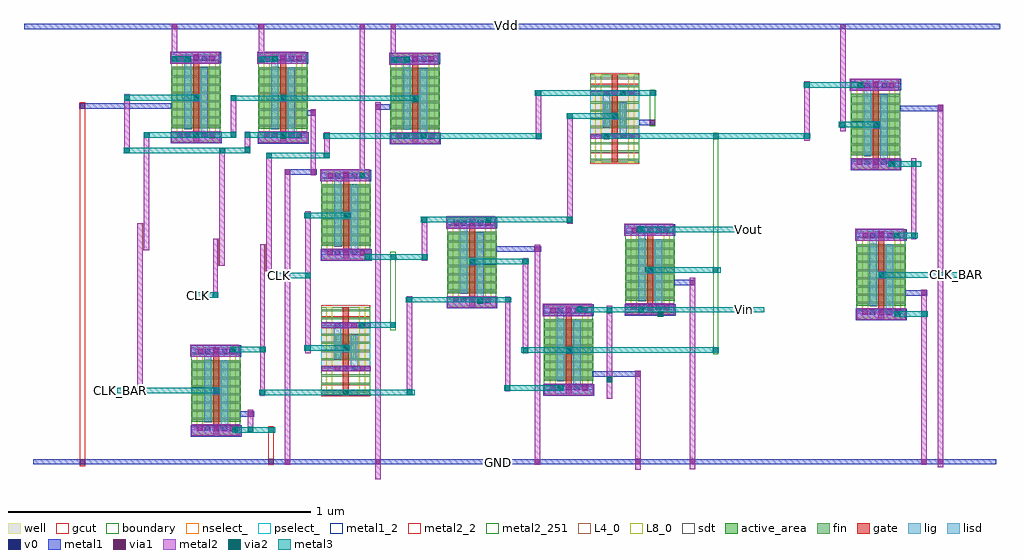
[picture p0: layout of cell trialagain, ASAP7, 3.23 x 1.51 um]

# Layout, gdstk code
import gdstk
lib = gdstk.Library(unit=1e-6, precision=2.5e-10)
def R(c, l, rs):  # rectangles x0, y0, x1, y1
    for r in rs: c.add(gdstk.rectangle(r[:2], r[2:], *l))
def A(c, l, x, y, w, h, nx, ny, dx, dy):  # array of equal rectangles
    R(c, l, [(x+i*dx, y+j*dy, x+i*dx+w, y+j*dy+h) for i in range(nx) for j in range(ny)])
well = (1, 0)
fin = (2, 0)
L4_0 = (4, 0)
gate = (7, 0)
L8_0 = (8, 0)
gcut = (10, 0)
active_area = (11, 0)
nselect_ = (12, 0)
pselect_ = (13, 0)
lig = (16, 0)
lisd = (17, 0)
v0 = (18, 0)
metal1 = (19, 0)
metal1_2 = (19, 2)
metal2 = (20, 0)
metal2_2 = (20, 2)
metal2_251 = (20, 251)
via1 = (21, 0)
via2 = (25, 0)
metal3 = (30, 0)
sdt = (88, 0)
boundary = (100, 0)

trialagain = lib.new_cell('trialagain')
R(trialagain, well, [(-0.807,4.412,-0.645,4.556), (0.082,5.1795,0.244,5.3235)])
A(trialagain, fin, -0.807, 4.332, 0.162, 0.007, 1, 11, 0, 0.027)
A(trialagain, fin, 0.082, 5.0995, 0.162, 0.007, 1, 11, 0, 0.027)
R(trialagain, fin, [(-1.2365,4.216,-1.0745,4.223), (-1.2365,4.216,-1.0745,4.223), (-1.2365,4.243,-1.0745,4.25), (-1.2365,4.243,-1.0745,4.25), (-1.2365,4.27,-1.0745,4.277), (-1.2365,4.27,-1.0745,4.277), (-1.2365,4.297,-1.0745,4.304), (-1.2365,4.297,-1.0745,4.304), (-1.2365,4.324,-1.0745,4.331), (-1.2365,4.324,-1.0745,4.331), (-1.2365,4.351,-1.0745,4.358), (-1.2365,4.351,-1.0745,4.358), (-0.071,4.351,0.091,4.358), (-0.071,4.351,0.091,4.358), (-1.2365,4.378,-1.0745,4.385), (-1.2365,4.378,-1.0745,4.385), (-0.071,4.378,0.091,4.385), (-0.071,4.378,0.091,4.385), (-1.2365,4.405,-1.0745,4.412), (-1.2365,4.405,-1.0745,4.412), (-0.071,4.405,0.091,4.412), (-0.071,4.405,0.091,4.412), (-1.2365,4.432,-1.0745,4.439), (-1.2365,4.432,-1.0745,4.439), (-0.071,4.432,0.091,4.439), (-0.071,4.432,0.091,4.439), (-1.2365,4.459,-1.0745,4.466), (-1.2365,4.459,-1.0745,4.466), (-0.071,4.459,0.091,4.466), (-0.071,4.459,0.091,4.466), (-0.071,4.486,0.091,4.493), (-0.071,4.486,0.091,4.493), (-0.071,4.513,0.091,4.52), (-0.071,4.513,0.091,4.52), (-0.071,4.54,0.091,4.547), (-0.071,4.54,0.091,4.547), (-0.071,4.567,0.091,4.574), (-0.071,4.567,0.091,4.574), (-0.071,4.594,0.091,4.601), (-0.071,4.594,0.091,4.601), (0.962,4.5995,1.124,4.6065), (0.962,4.5995,1.124,4.6065), (0.198,4.6158,0.36,4.6228), (0.198,4.6158,0.36,4.6228), (0.962,4.6265,1.124,4.6335), (0.962,4.6265,1.124,4.6335), (-0.391,4.6403,-0.229,4.6473), (-0.391,4.6403,-0.229,4.6473), (0.198,4.6428,0.36,4.6498), (0.198,4.6428,0.36,4.6498), (0.962,4.6535,1.124,4.6605), (0.962,4.6535,1.124,4.6605), (-0.391,4.6673,-0.229,4.6743), (-0.391,4.6673,-0.229,4.6743), (0.198,4.6698,0.36,4.6768), (0.198,4.6698,0.36,4.6768), (0.962,4.6805,1.124,4.6875), (0.962,4.6805,1.124,4.6875), (-0.391,4.6943,-0.229,4.7013), (-0.391,4.6943,-0.229,4.7013), (0.198,4.6968,0.36,4.7038), (0.198,4.6968,0.36,4.7038), (0.962,4.7075,1.124,4.7145), (0.962,4.7075,1.124,4.7145), (-0.391,4.7213,-0.229,4.7283), (-0.391,4.7213,-0.229,4.7283), (0.198,4.7238,0.36,4.7308), (0.198,4.7238,0.36,4.7308), (0.962,4.7345,1.124,4.7415), (0.962,4.7345,1.124,4.7415), (-0.391,4.7483,-0.229,4.7553), (-0.391,4.7483,-0.229,4.7553), (0.198,4.7508,0.36,4.7578), (0.198,4.7508,0.36,4.7578), (0.962,4.7615,1.124,4.7685), (0.962,4.7615,1.124,4.7685), (-0.391,4.7753,-0.229,4.7823), (-0.391,4.7753,-0.229,4.7823), (0.198,4.7778,0.36,4.7848), (0.198,4.7778,0.36,4.7848), (0.962,4.7885,1.124,4.7955), (0.962,4.7885,1.124,4.7955), (-0.807,4.7965,-0.645,4.8035), (-0.807,4.7965,-0.645,4.8035), (-0.391,4.8023,-0.229,4.8093), (-0.391,4.8023,-0.229,4.8093), (0.198,4.8048,0.36,4.8118), (0.198,4.8048,0.36,4.8118), (0.962,4.8155,1.124,4.8225), (0.962,4.8155,1.124,4.8225), (-0.807,4.8235,-0.645,4.8305), (-0.807,4.8235,-0.645,4.8305), (-0.391,4.8293,-0.229,4.8363), (-0.391,4.8293,-0.229,4.8363), (0.198,4.8318,0.36,4.8388), (0.198,4.8318,0.36,4.8388), (0.962,4.8425,1.124,4.8495), (0.962,4.8425,1.124,4.8495), (-0.807,4.8505,-0.645,4.8575), (-0.807,4.8505,-0.645,4.8575), (-0.391,4.8563,-0.229,4.8633), (-0.391,4.8563,-0.229,4.8633), (0.198,4.8588,0.36,4.8658), (0.198,4.8588,0.36,4.8658), (-0.807,4.8775,-0.645,4.8845), (-0.807,4.8775,-0.645,4.8845), (-0.391,4.8833,-0.229,4.8903), (-0.391,4.8833,-0.229,4.8903), (-0.807,4.9045,-0.645,4.9115), (-0.807,4.9045,-0.645,4.9115), (-0.807,4.9315,-0.645,4.9385), (-0.807,4.9315,-0.645,4.9385), (-0.807,4.9585,-0.645,4.9655), (-0.807,4.9585,-0.645,4.9655), (-0.807,4.9855,-0.645,4.9925), (-0.807,4.9855,-0.645,4.9925), (-0.807,5.0125,-0.645,5.0195), (-0.807,5.0125,-0.645,5.0195), (-0.807,5.0395,-0.645,5.0465), (-0.807,5.0395,-0.645,5.0465), (0.944,5.0958,1.106,5.1028), (0.944,5.0958,1.106,5.1028), (0.944,5.1228,1.106,5.1298), (0.944,5.1228,1.106,5.1298), (0.944,5.1498,1.106,5.1568), (0.944,5.1498,1.106,5.1568), (0.944,5.1768,1.106,5.1838), (0.944,5.1768,1.106,5.1838), (-0.5785,5.1823,-0.4165,5.1893), (-0.5785,5.1823,-0.4165,5.1893), (-1.0155,5.1843,-0.8535,5.1913), (-1.0155,5.1843,-0.8535,5.1913), (-1.303,5.1853,-1.141,5.1923), (-1.303,5.1853,-1.141,5.1923), (0.944,5.2038,1.106,5.2108), (0.944,5.2038,1.106,5.2108), (-0.5785,5.2093,-0.4165,5.2163), (-0.5785,5.2093,-0.4165,5.2163), (-1.0155,5.2113,-0.8535,5.2183), (-1.0155,5.2113,-0.8535,5.2183), (-1.303,5.2123,-1.141,5.2193), (-1.303,5.2123,-1.141,5.2193), (0.944,5.2308,1.106,5.2378), (0.944,5.2308,1.106,5.2378), (-0.5785,5.2363,-0.4165,5.2433), (-0.5785,5.2363,-0.4165,5.2433), (-1.0155,5.2383,-0.8535,5.2453), (-1.0155,5.2383,-0.8535,5.2453), (-1.303,5.2393,-1.141,5.2463), (-1.303,5.2393,-1.141,5.2463), (0.944,5.2578,1.106,5.2648), (0.944,5.2578,1.106,5.2648), (-0.5785,5.2633,-0.4165,5.2703), (-0.5785,5.2633,-0.4165,5.2703), (-1.0155,5.2653,-0.8535,5.2723), (-1.0155,5.2653,-0.8535,5.2723), (-1.303,5.2663,-1.141,5.2733), (-1.303,5.2663,-1.141,5.2733), (0.944,5.2848,1.106,5.2918), (0.944,5.2848,1.106,5.2918), (-0.5785,5.2903,-0.4165,5.2973), (-0.5785,5.2903,-0.4165,5.2973), (-1.0155,5.2923,-0.8535,5.2993), (-1.0155,5.2923,-0.8535,5.2993), (-1.303,5.2933,-1.141,5.3003), (-1.303,5.2933,-1.141,5.3003), (0.944,5.3118,1.106,5.3188), (0.944,5.3118,1.106,5.3188), (-0.5785,5.3173,-0.4165,5.3243), (-0.5785,5.3173,-0.4165,5.3243), (-1.0155,5.3193,-0.8535,5.3263), (-1.0155,5.3193,-0.8535,5.3263), (-1.303,5.3203,-1.141,5.3273), (-1.303,5.3203,-1.141,5.3273), (0.944,5.3388,1.106,5.3458), (0.944,5.3388,1.106,5.3458), (-0.5785,5.3443,-0.4165,5.3513), (-0.5785,5.3443,-0.4165,5.3513), (-1.0155,5.3463,-0.8535,5.3533), (-1.0155,5.3463,-0.8535,5.3533), (-1.303,5.3473,-1.141,5.3543), (-1.303,5.3473,-1.141,5.3543), (-0.5785,5.3713,-0.4165,5.3783), (-0.5785,5.3713,-0.4165,5.3783), (-1.0155,5.3733,-0.8535,5.3803), (-1.0155,5.3733,-0.8535,5.3803), (-1.303,5.3743,-1.141,5.3813), (-1.303,5.3743,-1.141,5.3813), (-0.5785,5.3983,-0.4165,5.4053), (-0.5785,5.3983,-0.4165,5.4053), (-1.0155,5.4003,-0.8535,5.4073), (-1.0155,5.4003,-0.8535,5.4073), (-1.303,5.4013,-1.141,5.4083), (-1.303,5.4013,-1.141,5.4083), (-0.5785,5.4253,-0.4165,5.4323), (-0.5785,5.4253,-0.4165,5.4323), (-1.0155,5.4273,-0.8535,5.4343), (-1.0155,5.4273,-0.8535,5.4343), (-1.303,5.4283,-1.141,5.4353), (-1.303,5.4283,-1.141,5.4353)])
R(trialagain, L4_0, [(-0.9945,4.734,-0.9895,4.824), (-0.9945,4.734,-0.9895,4.824), (-1.1495,4.752,-1.1445,4.842), (-1.1495,4.752,-1.1445,4.842), (-1.399,4.803,-1.394,4.893)])
R(trialagain, gate, [(-1.1645,4.195,-1.1445,4.483), (-0.7365,4.3275,-0.7165,4.6155), (0.001,4.33,0.021,4.618), (1.034,4.5785,1.054,4.8665), (0.27,4.5948,0.29,4.8828), (-0.319,4.6193,-0.299,4.9073), (-0.735,4.7755,-0.715,5.0635), (1.016,5.0748,1.036,5.3628), (0.1525,5.095,0.1725,5.383), (-0.5065,5.1613,-0.4865,5.4493), (-0.9435,5.1633,-0.9235,5.4513), (-1.231,5.1643,-1.211,5.4523)])
R(trialagain, L8_0, [(-1.2185,4.195,-1.1985,4.483), (-1.1105,4.195,-1.0905,4.483), (-0.7905,4.3275,-0.7705,4.6155), (-0.6825,4.3275,-0.6625,4.6155), (-0.053,4.33,-0.033,4.618), (0.055,4.33,0.075,4.618), (0.98,4.5785,1,4.8665), (1.088,4.5785,1.108,4.8665), (0.216,4.5948,0.236,4.8828), (0.324,4.5948,0.344,4.8828), (-0.373,4.6193,-0.353,4.9073), (-0.265,4.6193,-0.245,4.9073), (-0.789,4.7755,-0.769,5.0635), (-0.681,4.7755,-0.661,5.0635), (0.962,5.0748,0.982,5.3628), (1.07,5.0748,1.09,5.3628), (0.0985,5.095,0.1185,5.383), (0.2065,5.095,0.2265,5.383), (-0.5605,5.1613,-0.5405,5.4493), (-0.4525,5.1613,-0.4325,5.4493), (-0.9975,5.1633,-0.9775,5.4513), (-0.8895,5.1633,-0.8695,5.4513), (-1.285,5.1643,-1.265,5.4523), (-1.177,5.1643,-1.157,5.4523)])
R(trialagain, gcut, [(-1.2365,4.189,-1.0745,4.226), (-0.8075,4.3215,-0.6455,4.3585), (-0.071,4.324,0.091,4.361), (-1.2365,4.452,-1.0745,4.489), (0.962,4.5725,1.124,4.6095), (-0.8075,4.5845,-0.6455,4.6215), (-0.071,4.587,0.091,4.624), (0.198,4.5888,0.36,4.6258), (-0.391,4.6133,-0.229,4.6503), (-0.807,4.7695,-0.645,4.8065), (0.962,4.8355,1.124,4.8725), (0.198,4.8518,0.36,4.8888), (-0.391,4.8763,-0.229,4.9133), (-0.807,5.0325,-0.645,5.0695), (0.944,5.0688,1.106,5.1058), (0.0815,5.089,0.2435,5.126), (-0.5785,5.1553,-0.4165,5.1923), (-1.0155,5.1573,-0.8535,5.1943), (-1.303,5.1583,-1.141,5.1953), (0.944,5.3318,1.106,5.3688), (0.0815,5.352,0.2435,5.389), (-0.5785,5.4183,-0.4165,5.4553), (-1.0155,5.4203,-0.8535,5.4573), (-1.303,5.4213,-1.141,5.4583)])
R(trialagain, active_area, [(-1.2355,4.2373,-1.0735,4.4408), (-0.07,4.3723,0.092,4.5758), (-0.761,4.4435,-0.691,4.5245), (0.963,4.6208,1.125,4.8243), (0.199,4.637,0.361,4.8405), (-0.39,4.6615,-0.228,4.865), (-0.806,4.8178,-0.644,5.0213), (0.945,5.117,1.107,5.3205), (-0.5775,5.2035,-0.4155,5.407), (-1.0145,5.2055,-0.8525,5.409), (-1.302,5.2065,-1.14,5.41), (0.128,5.211,0.198,5.292)])
R(trialagain, nselect_, [(-1.2355,4.2715,-1.0735,4.4065), (-0.07,4.4065,0.092,4.5415), (0.963,4.655,1.125,4.79), (0.199,4.6713,0.361,4.8063), (-0.39,4.6958,-0.228,4.8308), (-0.806,4.852,-0.644,4.987), (0.945,5.1513,1.107,5.2863), (-0.5775,5.2378,-0.4155,5.3728), (-1.0145,5.2398,-0.8525,5.3748), (-1.302,5.2408,-1.14,5.3758)])
R(trialagain, pselect_, [(-0.807,4.415,-0.645,4.55), (0.082,5.1825,0.244,5.3175)])
R(trialagain, lig, [(-1.2375,4.208,-1.0755,4.224), (-1.1645,4.326,-1.1425,4.35), (-0.072,4.343,0.09,4.359), (-0.807,4.405,-0.645,4.421), (0.001,4.461,0.023,4.485), (-1.2365,4.462,-1.0745,4.478), (-0.738,4.467,-0.716,4.491), (-0.807,4.547,-0.645,4.563), (0.961,4.5915,1.123,4.6075), (-0.071,4.597,0.091,4.613), (0.197,4.6078,0.359,4.6238), (-0.392,4.6323,-0.23,4.6483), (1.034,4.7095,1.056,4.7335), (0.27,4.7258,0.292,4.7498), (-0.319,4.7543,-0.297,4.7783), (-0.808,4.7885,-0.646,4.8045), (0.962,4.8455,1.124,4.8615), (0.198,4.8618,0.36,4.8778), (-0.391,4.8863,-0.229,4.9023), (-0.735,4.9065,-0.713,4.9305), (-0.807,5.0425,-0.645,5.0585), (0.943,5.0878,1.105,5.1038), (0.082,5.1725,0.244,5.1885), (-0.5795,5.1743,-0.4175,5.1903), (-1.0165,5.1763,-0.8545,5.1923), (-1.304,5.1773,-1.142,5.1933), (1.016,5.2058,1.038,5.2298), (0.151,5.2345,0.173,5.2585), (-0.5065,5.2923,-0.4845,5.3163), (-0.9435,5.2943,-0.9215,5.3183), (-1.231,5.2953,-1.209,5.3193), (0.082,5.3145,0.244,5.3305), (0.944,5.3418,1.106,5.3578), (-0.5785,5.4283,-0.4165,5.4443), (-1.0155,5.4303,-0.8535,5.4463), (-1.303,5.4313,-1.141,5.4473)])
R(trialagain, lisd, [(-1.1395,4.209,-1.1155,4.4395), (-1.1945,4.2365,-1.1705,4.47), (0.026,4.344,0.05,4.5745), (-0.029,4.3715,-0.005,4.605), (-0.71,4.417,-0.686,4.525), (-0.766,4.443,-0.742,4.551), (1.059,4.5925,1.083,4.823), (0.295,4.6088,0.319,4.8393), (1.004,4.62,1.028,4.8535), (-0.294,4.6333,-0.27,4.8638), (0.24,4.6363,0.264,4.8698), (-0.349,4.6608,-0.325,4.8943), (-0.71,4.7895,-0.686,5.02), (-0.765,4.817,-0.741,5.0505), (1.041,5.0888,1.065,5.3193), (0.986,5.1163,1.01,5.3498), (-0.4815,5.1753,-0.4575,5.4058), (-0.9185,5.1773,-0.8945,5.4078), (-1.206,5.1783,-1.182,5.4088), (0.179,5.1845,0.203,5.2925), (-0.5365,5.2028,-0.5125,5.4363), (-0.9735,5.2048,-0.9495,5.4383), (-1.261,5.2058,-1.237,5.4393), (0.123,5.2105,0.147,5.3185)])
R(trialagain, v0, [(-1.1365,4.206,-1.1185,4.224), (-1.1925,4.207,-1.1745,4.225), (-1.1625,4.329,-1.1445,4.347), (-0.027,4.339,-0.009,4.357), (0.029,4.341,0.047,4.359), (-0.707,4.404,-0.689,4.422), (-1.1925,4.46,-1.1745,4.478), (-1.1355,4.46,-1.1175,4.478), (0.003,4.464,0.021,4.482), (-0.735,4.471,-0.717,4.489), (-0.763,4.547,-0.745,4.565), (1.062,4.5895,1.08,4.6075), (1.006,4.5905,1.024,4.6085), (-0.027,4.595,-0.009,4.613), (0.03,4.595,0.048,4.613), (0.298,4.6058,0.316,4.6238), (0.242,4.6068,0.26,4.6248), (-0.291,4.6303,-0.273,4.6483), (-0.347,4.6313,-0.329,4.6493), (1.036,4.7125,1.054,4.7305), (0.272,4.7288,0.29,4.7468), (-0.317,4.7533,-0.299,4.7713), (-0.707,4.7865,-0.689,4.8045), (-0.763,4.7875,-0.745,4.8055), (1.006,4.8435,1.024,4.8615), (1.063,4.8435,1.081,4.8615), (0.242,4.8598,0.26,4.8778), (0.299,4.8598,0.317,4.8778), (-0.347,4.8843,-0.329,4.9023), (-0.29,4.8843,-0.272,4.9023), (-0.733,4.9095,-0.715,4.9275), (-0.763,5.0405,-0.745,5.0585), (-0.706,5.0405,-0.688,5.0585), (1.044,5.0858,1.062,5.1038), (0.988,5.0868,1.006,5.1048), (0.182,5.1715,0.2,5.1895), (-0.4785,5.1723,-0.4605,5.1903), (-0.5345,5.1733,-0.5165,5.1913), (-0.9155,5.1743,-0.8975,5.1923), (-1.203,5.1753,-1.185,5.1933), (-0.9715,5.1753,-0.9535,5.1933), (-1.259,5.1763,-1.241,5.1943), (1.018,5.2088,1.036,5.2268), (0.154,5.2385,0.172,5.2565), (-0.5045,5.2953,-0.4865,5.3133), (-0.9415,5.2973,-0.9235,5.3153), (-1.229,5.2983,-1.211,5.3163), (0.126,5.3145,0.144,5.3325), (0.988,5.3398,1.006,5.3578), (1.045,5.3398,1.063,5.3578), (-0.5345,5.4263,-0.5165,5.4443), (-0.4775,5.4263,-0.4595,5.4443), (-0.9715,5.4283,-0.9535,5.4463), (-0.9145,5.4283,-0.8965,5.4463), (-1.259,5.4293,-1.241,5.4473), (-1.202,5.4293,-1.184,5.4473), (0.908,5.534,0.926,5.552)])
R(trialagain, metal1, [(-1.759,4.0955,1.424,4.1135), (-1.2385,4.188,-1.0705,4.226), (-1.075,4.254,-1.029,4.272), (-0.073,4.323,0.095,4.361), (0.0905,4.385,0.248,4.403), (-0.807,4.404,-0.645,4.422), (-1.2395,4.452,-1.0715,4.49), (0.003,4.464,0.021,4.482), (-0.735,4.471,-0.717,4.489), (-0.808,4.546,-0.644,4.565), (0.96,4.5715,1.128,4.6095), (0.305,4.5843,0.323,4.6023), (-0.074,4.587,0.094,4.625), (0.196,4.5878,0.364,4.6258), (-0.393,4.6123,-0.225,4.6503), (1.1235,4.654,1.196,4.672), (0.3595,4.688,0.428,4.706), (0.272,4.7288,0.29,4.7468), (-0.317,4.7533,-0.299,4.7713), (-0.809,4.7685,-0.641,4.8065), (-0.2295,4.799,-0.08,4.817), (0.959,4.8355,1.127,4.8735), (0.195,4.8518,0.363,4.8898), (-0.394,4.8763,-0.226,4.9143), (-0.733,4.9095,-0.715,4.9275), (-0.81,5.0325,-0.642,5.0705), (-0.927,5.054,-0.823,5.072), (0.942,5.0678,1.11,5.1058), (-0.5805,5.1543,-0.4125,5.1923), (-1.0175,5.1563,-0.8495,5.1943), (-1.305,5.1573,-1.137,5.1953), (0.082,5.1715,0.244,5.1895), (1.018,5.2088,1.036,5.2268), (0.2435,5.217,0.296,5.235), (0.154,5.2385,0.172,5.2565), (-0.854,5.248,-0.825,5.266), (1.1055,5.2635,1.249,5.2815), (-0.6295,5.2685,-0.579,5.2865), (-1.607,5.2715,-1.3035,5.2895), (-0.5045,5.2953,-0.4865,5.3133), (-0.9415,5.2973,-0.9235,5.3153), (-1.229,5.2983,-1.211,5.3163), (0.081,5.3135,0.245,5.3325), (0.941,5.3318,1.109,5.3698), (-0.5815,5.4183,-0.4135,5.4563), (-1.0185,5.4203,-0.8505,5.4583), (-1.306,5.4213,-1.138,5.4593), (-1.79,5.534,1.436,5.552)])
R(trialagain, metal1_2, [(1.036,4.7125,1.054,4.7305)])
R(trialagain, metal2, [(-0.629,4.046,-0.611,5.293), (0.231,4.078,0.249,4.406), (0.41,4.08,0.428,4.713), (1.231,4.087,1.249,5.284), (-0.928,4.094,-0.91,5.072), (-0.1015,4.094,-0.0835,4.822), (1.176,4.095,1.194,4.673), (-1.2365,4.19,-1.0745,4.228), (-1.05,4.2,-1.032,4.276), (0.137,4.312,0.155,4.621), (-1.0095,4.323,-0.994,4.824), (-0.525,4.324,-0.507,4.651), (-0.071,4.325,0.091,4.363), (-1.4158,4.327,-1.3978,4.893), (-0.2,4.337,-0.182,4.65), (-0.806,4.404,-0.644,4.422), (-1.2405,4.451,-1.0785,4.491), (-0.861,4.464,-0.843,4.932), (-0.142,4.464,-0.124,4.777), (0.003,4.464,0.021,4.482), (-0.735,4.471,-0.717,4.489), (-0.807,4.546,-0.645,4.564), (0.962,4.5735,1.124,4.6115), (0.305,4.5843,0.323,4.6023), (-0.075,4.586,0.087,4.626), (0.198,4.5898,0.36,4.6278), (-0.391,4.6143,-0.229,4.6523), (-1.0095,4.628,-0.994,4.824), (-1.1645,4.646,-1.149,4.842), (-1.1645,4.646,-1.149,4.842), (1.036,4.7125,1.054,4.7305), (0.272,4.7288,0.29,4.7468), (-0.989,4.735,-0.971,5.125), (-0.989,4.735,-0.971,5.125), (-1.144,4.753,-1.126,5.143), (-1.144,4.753,-1.126,5.143), (-0.317,4.7573,-0.299,4.7753), (-0.475,4.769,-0.457,4.915), (-0.807,4.7705,-0.645,4.8085), (-1.3935,4.804,-1.3755,5.194), (0.958,4.8345,1.12,4.8745), (1.142,4.84,1.16,5.107), (0.194,4.8508,0.356,4.8908), (-0.395,4.8753,-0.233,4.9153), (0.005,4.891,0.023,5.256), (-0.733,4.9095,-0.715,4.9275), (-0.811,5.0315,-0.649,5.0715), (-0.681,5.04,-0.663,5.553), (-0.843,5.052,-0.825,5.269), (0.944,5.0698,1.106,5.1078), (-0.798,5.108,-0.78,5.194), (-1.459,5.124,-1.441,5.32), (-1.06,5.125,-1.042,5.195), (-0.5785,5.1563,-0.4165,5.1943), (-1.0155,5.1583,-0.8535,5.1963), (-1.303,5.1593,-1.141,5.1973), (0.789,5.166,0.807,5.362), (-0.099,5.171,-0.081,5.333), (0.083,5.1715,0.245,5.1895), (-1.106,5.176,-1.088,5.315), (0.908,5.197,0.926,5.551), (1.018,5.2088,1.036,5.2268), (0.154,5.2385,0.172,5.2565), (-0.5045,5.2953,-0.4865,5.3133), (-0.9415,5.2973,-0.9235,5.3153), (-1.229,5.2983,-1.211,5.3163), (0.082,5.3135,0.244,5.3315), (0.94,5.3308,1.102,5.3708), (-0.5825,5.4173,-0.4205,5.4573), (-1.0195,5.4193,-0.8575,5.4593), (-1.307,5.4203,-1.145,5.4603), (-1.301,5.426,-1.283,5.552), (-1.301,5.426,-1.283,5.552), (-1.014,5.426,-0.996,5.552), (-0.5785,5.426,-0.5605,5.552)])
R(trialagain, metal2_2, [(-1.605,4.089,-1.587,5.292), (-0.982,4.094,-0.964,4.222)])
R(trialagain, metal2_251, [(0.488,4.46,0.505,5.192), (-0.579,4.54,-0.562,4.798), (0.279,5.213,0.297,5.334)])
R(trialagain, via1, [(-1.606,4.095,-1.588,4.113), (-0.928,4.095,-0.91,4.113), (-0.1025,4.095,-0.0845,4.113), (1.176,4.0955,1.194,4.1135), (1.231,4.0955,1.249,4.1135), (-0.982,4.096,-0.964,4.114), (-0.628,4.096,-0.612,4.113), (0.23,4.096,0.248,4.114), (0.41,4.096,0.428,4.114), (-1.1105,4.205,-1.0925,4.223), (-1.1635,4.206,-1.1455,4.224), (-1.2175,4.207,-1.1995,4.225), (-1.051,4.254,-1.033,4.272), (0.055,4.34,0.073,4.358), (0.002,4.341,0.02,4.359), (-0.052,4.342,-0.034,4.36), (0.23,4.385,0.248,4.403), (-0.763,4.404,-0.745,4.422), (-0.736,4.404,-0.718,4.422), (-0.68,4.404,-0.662,4.422), (-1.2155,4.46,-1.1975,4.478), (-1.1115,4.46,-1.0935,4.478), (-1.1645,4.461,-1.1465,4.479), (0.003,4.464,0.021,4.482), (-0.735,4.471,-0.717,4.489), (-0.708,4.546,-0.69,4.564), (-0.68,4.546,-0.662,4.564), (-0.736,4.547,-0.718,4.565), (0.305,4.5843,0.323,4.6023), (1.088,4.5885,1.106,4.6065), (1.035,4.5895,1.053,4.6075), (0.981,4.5905,0.999,4.6085), (-0.05,4.595,-0.032,4.613), (0.054,4.595,0.072,4.613), (0.001,4.596,0.019,4.614), (0.324,4.6048,0.342,4.6228), (0.271,4.6058,0.289,4.6238), (0.217,4.6068,0.235,4.6248), (-0.265,4.6293,-0.247,4.6473), (-0.318,4.6303,-0.3,4.6483), (-0.372,4.6313,-0.354,4.6493), (1.176,4.655,1.194,4.673), (0.41,4.688,0.428,4.706), (1.036,4.7125,1.054,4.7305), (0.272,4.7288,0.29,4.7468), (-0.317,4.7573,-0.299,4.7753), (-0.681,4.7855,-0.663,4.8035), (-0.734,4.7865,-0.716,4.8045), (-0.788,4.7875,-0.77,4.8055), (-0.103,4.799,-0.085,4.817), (0.983,4.8435,1.001,4.8615), (1.087,4.8435,1.105,4.8615), (1.034,4.8445,1.052,4.8625), (0.219,4.8598,0.237,4.8778), (0.323,4.8598,0.341,4.8778), (0.27,4.8608,0.288,4.8788), (-0.37,4.8843,-0.352,4.9023), (-0.266,4.8843,-0.248,4.9023), (-0.319,4.8853,-0.301,4.9033), (-0.733,4.9095,-0.715,4.9275), (-0.786,5.0405,-0.768,5.0585), (-0.682,5.0405,-0.664,5.0585), (-0.735,5.0415,-0.717,5.0595), (-0.928,5.054,-0.91,5.072), (-0.843,5.054,-0.825,5.072), (1.07,5.0848,1.088,5.1028), (1.017,5.0858,1.035,5.1038), (0.963,5.0868,0.981,5.1048), (-0.4525,5.1713,-0.4345,5.1893), (0.126,5.1715,0.144,5.1895), (0.153,5.1715,0.171,5.1895), (0.209,5.1715,0.227,5.1895), (-0.5055,5.1723,-0.4875,5.1903), (-0.8895,5.1733,-0.8715,5.1913), (-0.5595,5.1733,-0.5415,5.1913), (-1.177,5.1743,-1.159,5.1923), (-0.9425,5.1743,-0.9245,5.1923), (-1.23,5.1753,-1.212,5.1933), (-0.9965,5.1753,-0.9785,5.1933), (-1.284,5.1763,-1.266,5.1943), (1.018,5.2088,1.036,5.2268), (0.278,5.217,0.296,5.235), (0.154,5.2385,0.172,5.2565), (-0.843,5.248,-0.825,5.266), (1.231,5.264,1.249,5.282), (-0.629,5.2685,-0.611,5.2865), (-1.606,5.271,-1.588,5.289), (-0.5045,5.2953,-0.4865,5.3133), (-0.9415,5.2973,-0.9235,5.3153), (-1.229,5.2983,-1.211,5.3163), (0.181,5.3135,0.199,5.3315), (0.209,5.3135,0.227,5.3315), (0.153,5.3145,0.171,5.3325), (0.965,5.3398,0.983,5.3578), (1.069,5.3398,1.087,5.3578), (1.016,5.3408,1.034,5.3588), (-0.5575,5.4263,-0.5395,5.4443), (-0.4535,5.4263,-0.4355,5.4443), (-0.5065,5.4273,-0.4885,5.4453), (-0.9945,5.4283,-0.9765,5.4463), (-0.8905,5.4283,-0.8725,5.4463), (-1.282,5.4293,-1.264,5.4473), (-1.178,5.4293,-1.16,5.4473), (-0.9435,5.4293,-0.9255,5.4473), (-1.231,5.4303,-1.213,5.4483), (-1.301,5.534,-1.283,5.552), (-1.015,5.534,-0.997,5.552), (-0.681,5.534,-0.663,5.552), (-0.5785,5.534,-0.5605,5.552)])
R(trialagain, via2, [(-0.982,4.201,-0.964,4.219), (-1.1,4.2025,-1.082,4.2205), (-1.051,4.2025,-1.033,4.2205), (-1.011,4.325,-0.993,4.343), (-0.735,4.325,-0.717,4.343), (-0.525,4.326,-0.507,4.344), (-1.415,4.331,-1.397,4.349), (-0.2,4.339,-0.182,4.357), (-0.028,4.339,-0.01,4.357), (0.136,4.367,0.154,4.385), (-0.142,4.464,-0.124,4.482), (-0.142,4.464,-0.124,4.482), (0.003,4.464,0.021,4.482), (0.486,4.465,0.504,4.483), (-1.108,4.467,-1.09,4.485), (-1.0108,4.467,-0.9928,4.485), (-0.861,4.471,-0.843,4.489), (-0.735,4.471,-0.717,4.489), (-0.683,4.545,-0.665,4.563), (-0.579,4.548,-0.561,4.566), (0.305,4.5838,0.323,4.6028), (1.088,4.584,1.106,4.602), (1.176,4.584,1.194,4.602), (0.137,4.596,0.155,4.614), (0.241,4.598,0.259,4.616), (0.038,4.599,0.056,4.617), (-0.292,4.626,-0.274,4.644), (-0.525,4.631,-0.507,4.649), (-0.199,4.631,-0.181,4.649), (-1.166,4.646,-1.148,4.664), (-0.861,4.712,-0.843,4.73), (1.036,4.7125,1.054,4.7305), (0.272,4.7288,0.29,4.7468), (0.486,4.7288,0.504,4.7468), (-0.317,4.7573,-0.299,4.7753), (-0.143,4.758,-0.125,4.776), (-0.143,4.758,-0.125,4.776), (-0.578,4.772,-0.56,4.79), (-0.474,4.772,-0.456,4.79), (-0.663,4.774,-0.645,4.792), (1.084,4.843,1.102,4.861), (1.142,4.843,1.16,4.861), (0.239,4.865,0.257,4.883), (-0.475,4.894,-0.457,4.912), (-0.263,4.894,-0.245,4.912), (0.004,4.895,0.022,4.913), (-0.861,4.9095,-0.843,4.9275), (-0.733,4.9095,-0.715,4.9275), (-0.681,5.041,-0.663,5.059), (1.071,5.079,1.089,5.097), (1.142,5.079,1.16,5.097), (-0.989,5.108,-0.971,5.125), (-0.7985,5.108,-0.7795,5.125), (-1.459,5.125,-1.441,5.143), (-1.1435,5.125,-1.1255,5.142), (-1.1435,5.125,-1.1255,5.142), (-1.06,5.127,-1.042,5.145), (0.488,5.17,0.506,5.188), (0.127,5.171,0.145,5.189), (-0.798,5.172,-0.78,5.19), (0.788,5.172,0.806,5.19), (-0.942,5.173,-0.924,5.191), (-0.098,5.173,-0.08,5.191), (-0.478,5.174,-0.46,5.192), (-1.393,5.176,-1.375,5.193), (-1.231,5.176,-1.213,5.194), (-1.06,5.176,-1.042,5.194), (-1.106,5.177,-1.088,5.195), (0.907,5.2088,0.925,5.2268), (1.018,5.2088,1.036,5.2268), (0.154,5.2385,0.172,5.2565), (0.006,5.239,0.024,5.257), (-0.5045,5.2953,-0.4865,5.3133), (-0.9415,5.2973,-0.9235,5.3153), (-1.106,5.298,-1.088,5.316), (-1.229,5.2983,-1.211,5.3163), (-1.459,5.2993,-1.441,5.3173), (0.279,5.314,0.297,5.332), (-0.099,5.315,-0.081,5.333), (0.18,5.315,0.198,5.333), (0.789,5.341,0.807,5.359), (0.966,5.341,0.984,5.359), (-0.5765,5.423,-0.5585,5.441), (-0.5325,5.4245,-0.5145,5.4425), (-1.0135,5.425,-0.9955,5.443), (-1.301,5.426,-1.283,5.444), (-0.9695,5.4265,-0.9515,5.4445), (-1.257,5.4275,-1.239,5.4455)])
R(trialagain, metal3, [(-1.102,4.201,-0.96,4.219), (-1.013,4.325,-0.498,4.343), (-1.482,4.331,-1.143,4.349), (-0.203,4.34,-0.006,4.358), (-0.146,4.465,0.507,4.483), (-1.108,4.467,-0.991,4.485), (-0.864,4.471,-0.714,4.489), (-0.684,4.5475,-0.563,4.5655), (1.086,4.584,1.198,4.602), (0.037,4.598,0.657,4.616), (-0.529,4.631,-0.18,4.649), (-1.223,4.647,-1.148,4.665), (-0.954,4.711,-0.842,4.729), (1.035,4.713,1.304,4.731), (0.267,4.729,0.513,4.747), (-0.319,4.757,-0.122,4.775), (-0.662,4.772,-0.455,4.79), (1.086,4.843,1.164,4.861), (0.237,4.8635,0.638,4.8815), (-0.478,4.8958,0.024,4.9138), (-0.863,4.9095,-0.711,4.9275), (-0.681,5.041,-0.663,5.059), (1.066,5.08,1.175,5.098), (-0.99,5.108,-0.779,5.126), (-1.46,5.125,-1.042,5.143), (-0.801,5.172,-0.078,5.19), (0.119,5.172,0.808,5.19), (-1.394,5.176,-1.088,5.194), (-1.061,5.176,-0.876,5.194), (0.903,5.21,1.038,5.228), (0.004,5.239,0.174,5.257), (-1.106,5.297,-0.486,5.315), (-1.459,5.2985,-1.21,5.318), (-0.101,5.314,0.299,5.332), (0.788,5.341,0.984,5.359), (-0.5765,5.424,-0.5165,5.442), (-1.0135,5.426,-0.9535,5.444), (-1.301,5.427,-1.241,5.445)])
R(trialagain, sdt, [(-1.1935,4.235,-1.1695,4.4415), (-1.1395,4.2373,-1.115,4.4408), (-0.028,4.37,-0.004,4.5765), (0.026,4.3723,0.0505,4.5758), (-0.766,4.4435,-0.742,4.5245), (-0.71,4.4435,-0.686,4.5245), (1.005,4.6185,1.029,4.825), (1.059,4.6208,1.0835,4.8243), (0.241,4.6348,0.265,4.8413), (0.295,4.637,0.3195,4.8405), (-0.348,4.6593,-0.324,4.8658), (-0.294,4.6615,-0.2695,4.865), (-0.764,4.8155,-0.74,5.022), (-0.71,4.8178,-0.6855,5.0213), (0.987,5.1148,1.011,5.3213), (1.041,5.117,1.0655,5.3205), (-0.5355,5.2013,-0.5115,5.4078), (-0.9725,5.2033,-0.9485,5.4098), (-0.4815,5.2035,-0.457,5.407), (-1.26,5.2043,-1.236,5.4108), (-0.9185,5.2055,-0.894,5.409), (-1.206,5.2065,-1.1815,5.41), (0.123,5.211,0.147,5.292), (0.179,5.211,0.203,5.292)])
R(trialagain, boundary, [(-1.237,4.195,-1.075,4.483), (-0.8075,4.3275,-0.6455,4.6155), (-0.0715,4.33,0.0905,4.618), (0.9615,4.5785,1.1235,4.8665), (0.1975,4.5948,0.3595,4.8828), (-0.3915,4.6193,-0.2295,4.9073), (-0.8075,4.7755,-0.6455,5.0635), (0.9435,5.0748,1.1055,5.3628), (0.0815,5.095,0.2435,5.383), (-0.579,5.1613,-0.417,5.4493), (-1.016,5.1633,-0.854,5.4513), (-1.3035,5.1643,-1.1415,5.4523)])
trialagain.add(gdstk.Label('Vdd', (-0.194,5.546), layer=19, texttype=0))
trialagain.add(gdstk.Label('GND', (-0.222,4.103), layer=19, texttype=0))
trialagain.add(gdstk.Label('Vin', (0.59,4.608), layer=30, texttype=0))
trialagain.add(gdstk.Label('Vout', (0.605,4.872), layer=30, texttype=0))
trialagain.add(gdstk.Label('CLK_BAR', (1.291,4.722), layer=30, texttype=0))
trialagain.add(gdstk.Label('CLK_BAR', (-1.472,4.341), layer=30, texttype=0))
trialagain.add(gdstk.Label('CLK', (-1.213,4.653), layer=30, texttype=0))
trialagain.add(gdstk.Label('CLK', (-0.944,4.719), layer=30, texttype=0))

lib.write_gds('trialagain.gds')
